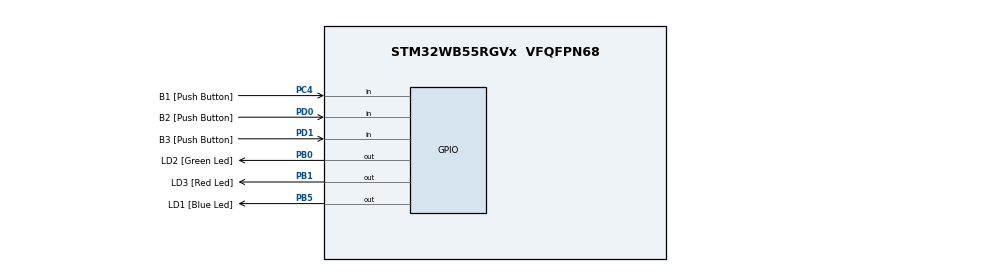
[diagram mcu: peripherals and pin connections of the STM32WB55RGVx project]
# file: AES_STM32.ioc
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Mcu.Family=STM32WB
Mcu.Name=STM32WB55RGVx
Mcu.Package=VFQFPN68
NVIC.PriorityGroup=NVIC_PRIORITYGROUP_4
OSC_IN.GPIO_Label=RCC_OSC_IN
OSC_IN.Signal=RCC_OSC_IN
OSC_OUT.GPIO_Label=RCC_OSC_OUT
OSC_OUT.Signal=RCC_OSC_OUT
PA11.GPIO_Label=USB_DM
PA11.Signal=USB_DM
PA12.GPIO_Label=USB_DP
PA12.Signal=USB_DP
PA13.GPIO_Label=JTMS
PA13.Mode=Trace_Asynchronous_SW
PA13.Signal=SYS_JTMS-SWDIO
PA14.GPIO_Label=JTCK
PA14.Mode=Trace_Asynchronous_SW
PA14.Signal=SYS_JTCK-SWCLK
PB0.GPIO_Label=LD2 [Green Led]
PB0.Signal=GPIO_Output
PB1.GPIO_Label=LD3 [Red Led]
PB1.Signal=GPIO_Output
PB3.GPIO_Label=JTDO
PB3.Mode=Trace_Asynchronous_SW
PB3.Signal=SYS_JTDO-SWO
PB5.GPIO_Label=LD1 [Blue Led]
PB5.Signal=GPIO_Output
PB6.GPIO_Label=STLINK_RX
PB6.Signal=USART1_TX
PB7.GPIO_Label=STLINK_TX
PB7.Signal=USART1_RX
PC13.GPIO_Label=SYS_WKUP2
PC13.Signal=SYS_WKUP2
PC14-OSC32_IN.GPIO_Label=RCC_OSC32_IN
PC14-OSC32_IN.Signal=RCC_OSC32_IN
PC15-OSC32_OUT.GPIO_Label=RCC_OSC32_OUT
PC15-OSC32_OUT.Signal=RCC_OSC32_OUT
PC4.GPIO_Label=B1 [Push Button]
PC4.Signal=GPIO_Input
PD0.GPIO_Label=B2 [Push Button]
PD0.Signal=GPIO_Input
PD1.GPIO_Label=B3 [Push Button]
PD1.Signal=GPIO_Input
ProjectManager.HeapSize=0x200
ProjectManager.StackSize=0x400
ProjectManager.TargetToolchain=STM32CubeIDE
RCC.ADCFreq_Value=128000000
RCC.AHBFreq_Value=32000000
RCC.APB1Freq_Value=32000000
RCC.APB1TimFreq_Value=32000000
RCC.APB2Freq_Value=32000000
RCC.APB2TimFreq_Value=32000000
RCC.APB3Freq_Value=16000000
RCC.CortexFreq_Value=32000000
RCC.HCLKFreq_Value=32000000
RCC.HSE_VALUE=32000000
RCC.HSI48_VALUE=48000000
RCC.HSI_VALUE=16000000
RCC.LSE_VALUE=32768
RCC.MSIClockRange=RCC_MSIRANGE_10
RCC.SMPSCLockSelection=RCC_SMPSCLKSOURCE_HSI
RCC.SMPSCLockSelectionVirtual=RCC_SMPSCLKSOURCE_HSI
RCC.SMPSCLockSelectionVirtualVirtual=RCC_SMPSCLKSOURCE_HSI
RCC.SMPSDivider=1
RCC.SYSCLKFreq_VALUE=32000000
RCC.USBFreq_Value=128000000
RCC.VCOOutputFreq_Value=256000000
VP_MEMORYMAP_VS_MEMORYMAP.Mode=CurAppReg
board=NUCLEO-WB55RG

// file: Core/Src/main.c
/* USER CODE BEGIN Header */
/**
  ******************************************************************************
  * @file           : main.c
  * @brief          : Main program body
  ******************************************************************************
  * @attention
  *
  * Copyright (c) 2025 STMicroelectronics.
  * All rights reserved.
  *
  * This software is licensed under terms that can be found in the LICENSE file
  * in the root directory of this software component.
  * If no LICENSE file comes with this software, it is provided AS-IS.
  *
  ******************************************************************************
  */
/* USER CODE END Header */
#include "main.h"
#include "decryption.h"

/* USER CODE BEGIN Includes */
#include <stdio.h>
#include <stdlib.h>
/* USER CODE END Includes */

void SystemClock_Config(void);
void PeriphCommonClock_Config(void);
static void MX_GPIO_Init(void);

/* USER CODE BEGIN 0 */
int __io_putchar(int ch){
	ITM_SendChar(ch);
	return ch;
}
/* USER CODE END 0 */

int main(void)
{

  /* MCU Configuration--------------------------------------------------------*/

  /* Reset of all peripherals, Initializes the Flash interface and the Systick. */
  HAL_Init();

  /* Configure the system clock */
  SystemClock_Config();

  /* Configure the peripherals common clocks */
  PeriphCommonClock_Config();

  /* Initialize all configured peripherals */
  MX_GPIO_Init();
  /* USER CODE BEGIN 2 */

    uint8_t key[] = {
            0x2b, 0x7e, 0x15, 0x16,
            0x28, 0xae, 0xd2, 0xa6,
            0xab, 0xf7, 0x15, 0x88,
            0x09, 0xcf, 0x4f, 0x3c};

    uint8_t in[] = {
            0x32, 0x43, 0xf6, 0xa8,
            0x88, 0x5a, 0x30, 0x8d,
            0x31, 0x31, 0x98, 0xa2,
            0xe0, 0x37, 0x07, 0x34};

    uint8_t out[16];

    uint8_t *key_expanded;

    key_expanded = malloc(4*(10+1)*4);
    aes_key_expansion(key, key_expanded);

    printf(" Plaintext message:\n");
    for (int i = 0; i < 4; i++) {
        for (int j = 0; j < 4; j++) {
            printf("%02x ", in[j * 4 + i]);
        }
        printf("\n");
    }

    printf("\n");

    aes_cipher(in, out, key_expanded);

    printf("Ciphered message:\n");
    for (int i = 0; i < 4; i++) {
        for (int j = 0; j < 4; j++) {
            printf("%02x ", out[j * 4 + i]);
        }
        printf("\n");
    }

    printf("\n");

    uint8_t deciphered[16];

    InvCipher(out, deciphered, key_expanded);

    printf("Deciphered message:\n");
    for (int i = 0; i < 4; i++) {
        for (int j = 0; j < 4; j++) {
            printf("%02x ", deciphered[j * 4 + i]);
        }
        printf("\n");
    }
    free(key_expanded);

    /* USER CODE END 2 */

  /* Infinite loop */
  while (1)
  {

  }
}

void SystemClock_Config(void)
{
  RCC_OscInitTypeDef RCC_OscInitStruct = {0};
  RCC_ClkInitTypeDef RCC_ClkInitStruct = {0};

  /** Configure the main internal regulator output voltage
  */
  __HAL_PWR_VOLTAGESCALING_CONFIG(PWR_REGULATOR_VOLTAGE_SCALE1);

  /** Initializes the RCC Oscillators according to the specified parameters
  * in the RCC_OscInitTypeDef structure.
  */
  RCC_OscInitStruct.OscillatorType = RCC_OSCILLATORTYPE_HSI|RCC_OSCILLATORTYPE_MSI;
  RCC_OscInitStruct.HSIState = RCC_HSI_ON;
  RCC_OscInitStruct.MSIState = RCC_MSI_ON;
  RCC_OscInitStruct.HSICalibrationValue = RCC_HSICALIBRATION_DEFAULT;
  RCC_OscInitStruct.MSICalibrationValue = RCC_MSICALIBRATION_DEFAULT;
  RCC_OscInitStruct.MSIClockRange = RCC_MSIRANGE_10;
  RCC_OscInitStruct.PLL.PLLState = RCC_PLL_NONE;
  if (HAL_RCC_OscConfig(&RCC_OscInitStruct) != HAL_OK)
  {
    Error_Handler();
  }

  /** Configure the SYSCLKSource, HCLK, PCLK1 and PCLK2 clocks dividers
  */
  RCC_ClkInitStruct.ClockType = RCC_CLOCKTYPE_HCLK4|RCC_CLOCKTYPE_HCLK2
                              |RCC_CLOCKTYPE_HCLK|RCC_CLOCKTYPE_SYSCLK
                              |RCC_CLOCKTYPE_PCLK1|RCC_CLOCKTYPE_PCLK2;
  RCC_ClkInitStruct.SYSCLKSource = RCC_SYSCLKSOURCE_MSI;
  RCC_ClkInitStruct.AHBCLKDivider = RCC_SYSCLK_DIV1;
  RCC_ClkInitStruct.APB1CLKDivider = RCC_HCLK_DIV1;
  RCC_ClkInitStruct.APB2CLKDivider = RCC_HCLK_DIV1;
  RCC_ClkInitStruct.AHBCLK2Divider = RCC_SYSCLK_DIV1;
  RCC_ClkInitStruct.AHBCLK4Divider = RCC_SYSCLK_DIV1;

  if (HAL_RCC_ClockConfig(&RCC_ClkInitStruct, FLASH_LATENCY_1) != HAL_OK)
  {
    Error_Handler();
  }
}

void PeriphCommonClock_Config(void)
{
  RCC_PeriphCLKInitTypeDef PeriphClkInitStruct = {0};

  /** Initializes the peripherals clock
  */
  PeriphClkInitStruct.PeriphClockSelection = RCC_PERIPHCLK_SMPS;
  PeriphClkInitStruct.SmpsClockSelection = RCC_SMPSCLKSOURCE_HSI;
  PeriphClkInitStruct.SmpsDivSelection = RCC_SMPSCLKDIV_RANGE0;

  if (HAL_RCCEx_PeriphCLKConfig(&PeriphClkInitStruct) != HAL_OK)
  {
    Error_Handler();
  }
}

static void MX_GPIO_Init(void)
{
  GPIO_InitTypeDef GPIO_InitStruct = {0};

  /* GPIO Ports Clock Enable */
  __HAL_RCC_GPIOC_CLK_ENABLE();
  __HAL_RCC_GPIOB_CLK_ENABLE();
  __HAL_RCC_GPIOA_CLK_ENABLE();
  __HAL_RCC_GPIOD_CLK_ENABLE();

  /*Configure GPIO pin Output Level */
  HAL_GPIO_WritePin(GPIOB, LD2_Pin|LD3_Pin|LD1_Pin, GPIO_PIN_RESET);

  /*Configure GPIO pin : B1_Pin */
  GPIO_InitStruct.Pin = B1_Pin;
  GPIO_InitStruct.Mode = GPIO_MODE_INPUT;
  GPIO_InitStruct.Pull = GPIO_NOPULL;
  HAL_GPIO_Init(B1_GPIO_Port, &GPIO_InitStruct);

  /*Configure GPIO pins : LD2_Pin LD3_Pin LD1_Pin */
  GPIO_InitStruct.Pin = LD2_Pin|LD3_Pin|LD1_Pin;
  GPIO_InitStruct.Mode = GPIO_MODE_OUTPUT_PP;
  GPIO_InitStruct.Pull = GPIO_NOPULL;
  GPIO_InitStruct.Speed = GPIO_SPEED_FREQ_LOW;
  HAL_GPIO_Init(GPIOB, &GPIO_InitStruct);

  /*Configure GPIO pins : USB_DM_Pin USB_DP_Pin */
  GPIO_InitStruct.Pin = USB_DM_Pin|USB_DP_Pin;
  GPIO_InitStruct.Mode = GPIO_MODE_AF_PP;
  GPIO_InitStruct.Pull = GPIO_NOPULL;
  GPIO_InitStruct.Speed = GPIO_SPEED_FREQ_LOW;
  GPIO_InitStruct.Alternate = GPIO_AF10_USB;
  HAL_GPIO_Init(GPIOA, &GPIO_InitStruct);

  /*Configure GPIO pins : B2_Pin B3_Pin */
  GPIO_InitStruct.Pin = B2_Pin|B3_Pin;
  GPIO_InitStruct.Mode = GPIO_MODE_INPUT;
  GPIO_InitStruct.Pull = GPIO_NOPULL;
  HAL_GPIO_Init(GPIOD, &GPIO_InitStruct);

  /*Configure GPIO pins : STLINK_RX_Pin STLINK_TX_Pin */
  GPIO_InitStruct.Pin = STLINK_RX_Pin|STLINK_TX_Pin;
  GPIO_InitStruct.Mode = GPIO_MODE_AF_PP;
  GPIO_InitStruct.Pull = GPIO_NOPULL;
  GPIO_InitStruct.Speed = GPIO_SPEED_FREQ_LOW;
  GPIO_InitStruct.Alternate = GPIO_AF7_USART1;
  HAL_GPIO_Init(GPIOB, &GPIO_InitStruct);

}

void Error_Handler(void)
{
  __disable_irq();
  while (1)
  {
  }
}
